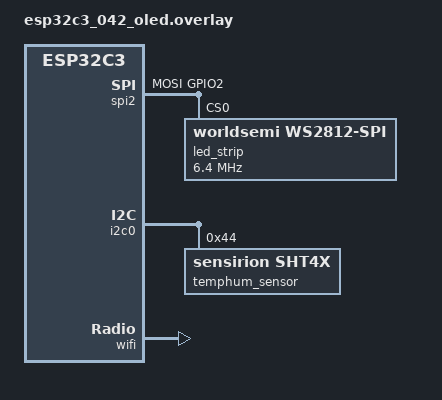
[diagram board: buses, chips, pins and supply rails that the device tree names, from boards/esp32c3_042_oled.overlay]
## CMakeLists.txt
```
cmake_minimum_required(VERSION 3.13.1)
message("WORKSPACE_BASE = $ENV{WORKSPACE_BASE}")
message("ZEPHYR_BASE = $ENV{ZEPHYR_BASE}")
message("ZEPHYR_SDK_INSTALL_DIR = $ENV{ZEPHYR_SDK_INSTALL_DIR}")
message("ZEPHYR_TOOLCHAIN_VARIANT = $ENV{ZEPHYR_TOOLCHAIN_VARIANT}")

set(CONFIG_OUTPUT_DISASSEMBLY y CACHE INTERNAL "")
set(CONFIG_OUTPUT_DISASSEMBLY_WITH_SOURCE y CACHE INTERNAL "")

list(APPEND EXTRA_CONF_FILE
    ${CMAKE_CURRENT_SOURCE_DIR}/conf/kernel.conf
    ${CMAKE_CURRENT_SOURCE_DIR}/conf/net.conf
    ${CMAKE_CURRENT_SOURCE_DIR}/conf/modules.conf
    ${CMAKE_CURRENT_SOURCE_DIR}/conf/rpc.conf
    ${CMAKE_CURRENT_SOURCE_DIR}/conf/nv.conf
    ${CMAKE_CURRENT_SOURCE_DIR}/conf/wifi.conf
)

#cmake_minimum_required(VERSION 3.13.1)
#message("ZEPHYR_BASE = $ENV{ZEPHYR_BASE}")
#find_package(Zephyr REQUIRED HINTS $ENV{ZEPHYR_BASE})

find_package(Zephyr REQUIRED HINTS $ENV{ZEPHYR_BASE})

project(oled_demo)

set(target app)

# Include the cmake script which builds protobuf bindings.
include($ENV{WORKSPACE_BASE}/common/scripts/cmake/build_proto.cmake)

# The following creates the target ${target}_proto.
nanopb_build_sources(${target} $ENV{WORKSPACE_BASE}/proto)

target_sources(
    ${target}
    PRIVATE
    src/main.c
    src/rpc.c
    src/sensor.c
    src/font5x7.c
    src/font8x8.c
    )

target_compile_options(
    ${target}
    PUBLIC
    -fmax-errors=5
    )

target_link_libraries(
    ${target}
    INTERFACE
    ${target}_proto
    )
```

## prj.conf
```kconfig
CONFIG_MAIN_STACK_SIZE=4096
#CONFIG_OUTPUT_DISASSEMBLY=y

#CONFIG_HEAP_MEM_POOL_SIZE=32768

#CONFIG_NET_IPV6=n

#CONFIG_GPIO=y
#CONFIG_LOG=y
#CONFIG_LOG_MODE_IMMEDIATE=y
#CONFIG_PRINTK=y
#CONFIG_EVENTS=y

#CONFIG_REBOOT=y

#CONFIG_JSON_LIBRARY=y
#CONFIG_LWM2M=y
#
#CONFIG_I2C=y
#CONFIG_DISPLAY=y
#CONFIG_CHARACTER_FRAMEBUFFER=y
#CONFIG_CHARACTER_FRAMEBUFFER_USE_DEFAULT_FONTS=y
#
#CONFIG_SHELL=y
#CONFIG_I2C_SHELL=y
#CONFIG_SENSOR=y
#
#CONFIG_SSD1306=y
#CONFIG_SSD1306_DEFAULT_CONTRAST=128

# Standard thread options
#CONFIG_DYNAMIC_THREAD=y
#CONFIG_DYNAMIC_THREAD_ALLOC=y
#CONFIG_THREAD_STACK_INFO=y
#CONFIG_THREAD_NAME=y
#CONFIG_THREAD_MONITOR=y
#CONFIG_THREAD_RUNTIME_STATS=y
#CONFIG_THREAD_RUNTIME_STATS_USE_TIMING_FUNCTIONS=y

#CONFIG_LED_STRIP=y
#CONFIG_MQTT_LIB=y
#
## For RANDOM
#CONFIG_ENTROPY_GENERATOR=y

# Required by NvParms
#CONFIG_FLASH=y
#CONFIG_FLASH_MAP=y
#CONFIG_NVS=y
#CONFIG_SETTINGS=y
#CONFIG_SETTINGS_RUNTIME=y
#CONFIG_SETTINGS_NVS=y

# Required by WifiConnect module
#CONFIG_WIFI=y

# Network
#CONFIG_NETWORKING=y
#CONFIG_NET_L2_WIFI_MGMT=y
#CONFIG_NET_L2_ETHERNET=y
#CONFIG_NET_IPV4=y
#CONFIG_NET_DHCPV4=y
#CONFIG_NET_TCP=y
#CONFIG_NET_SOCKETS=y
#CONFIG_POSIX_API=y

#CONFIG_MQTTCLIENT_SERVER_ADDR="192.168.1.7"
#
#CONFIG_RTOSUTILS=y
#CONFIG_WS2812LED=y
#CONFIG_RANDOM=y
##CONFIG_WIFICONNECT=y
##CONFIG_NVPARMS=y
#CONFIG_MQTTCLIENT=y
#CONFIG_MQTTCLIENT_STACK_SIZE=2048
#CONFIG_MQTTCLIENT_THREAD_PRIO=15
#CONFIG_MQTTCLIENT_LOG_LEVEL_DBG=y
```

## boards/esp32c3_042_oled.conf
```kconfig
CONFIG_I2C_ESP32=y
```

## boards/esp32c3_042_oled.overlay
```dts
#include <zephyr/dt-bindings/led/led.h>

/ {
	aliases {
		led-strip = &led_strip;
		temphum0 = &temphum_sensor;
	};

};

&pinctrl {
	spim2_default: spim2_default {
		group3 {
			pinmux = <SPIM2_MOSI_GPIO2>;
		};
	};
};

&spi2 {
	status = "okay";
	#address-cells = <1>;
	#size-cells = <0>;
	pinctrl-0 = <&spim2_default>;
	pinctrl-names = "default";

	/* Workaround to support WS2812 driver */
	line-idle-low;

	led_strip: ws2812@0 {
		compatible = "worldsemi,ws2812-spi";

		/* SPI */
		reg = <0>; /* ignored, but necessary for SPI bindings */
		spi-max-frequency = <6400000>;

		/* WS2812 */
		chain-length = <1>; /* a single led */
		spi-cpha;
		spi-one-frame = <0xf0>; /* 11110000: 625 ns high and 625 ns low */
		spi-zero-frame = <0xc0>; /* 11000000: 312.5 ns high and 937.5 ns low */
		color-mapping = <LED_COLOR_ID_GREEN
				 LED_COLOR_ID_RED
				 LED_COLOR_ID_BLUE>;
	};
};

&i2c0 {
	temphum_sensor: sht4x@44 {
		status = "okay";
		compatible = "sensirion,sht4x";
		reg = <0x44>;
		repeatability = <2>;
	};
};

&wifi {
	status = "okay";
};
```

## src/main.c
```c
#include <stdio.h>
#include <zephyr/kernel.h>
#include <zephyr/sys/reboot.h>
#include <zephyr/device.h>
#include <zephyr/devicetree.h>
#include <zephyr/logging/log.h>

#include "WS2812Led.h"
#include "RtosUtils.h"
#include "sensor.h"
#include "WifiConnect.h"
#include "NvParms.h"
#include "Publisher.h"
#include "rpc.h"

#include "Sensor.pb.h"

/** @brief Initialize the logging module. */
LOG_MODULE_REGISTER(app, LOG_LEVEL_DBG);

#define STRIP_NODE       DT_ALIAS(led_strip)

static const struct device *const rgbled_dev = DEVICE_DT_GET(STRIP_NODE);

static WS2812Led led;
static MqttClient mqtt;
static Publisher_topic_t hello_topic;
static Publisher_topic_t sensor_topic;

static void
wifi_error(void)
{
    LOG_ERR("Rebooting system.");
    sys_reboot(SYS_REBOOT_COLD);
}

static int
init_wifi(void)
{
    char ssid[32];
    char pass[32];
    int ret, pass_len;

    ret = NvParms_load("ssid", NVPARMS_TYPE_STRING, ssid, sizeof(ssid));
    if (ret <= 0)
    {
        LOG_ERR("Error getting ssid from NV: %d", ret);
        return -1;
    }

    pass_len = NvParms_load("pass", NVPARMS_TYPE_STRING, pass, sizeof(pass));
    if (pass_len <= 0)
    {
        LOG_ERR("Error getting pass from NV: %d", pass_len);
        return -1;
    }

    LOG_DBG("ssid=%s", ssid);
    LOG_DBG("password length=%d", pass_len);

    WifiConnect_connect(ssid, pass, wifi_error);
    return 0;
}


int main(void)
{
    int sensor_ready;
    int ret;
    struct sensor_value temp;
    struct sensor_value hum;
    WS2812Led_Segment *led_seg = &led.seg;
    char *ip, *nm, *gw;

    sensor_ready = init_sensor();
    init_display();

    WS2812LED_INIT_SIMPLE(rgbled_dev, &led, "led", 1);

    /* Start blend around the color wheel. */
    CHSV color1 = WS2812LED_HSV_COLOR(HUE_GREEN, 255, 100);
    CHSV color2 = WS2812LED_HSV_COLOR(color1.h + 255, 255, 100);
    led_seg->show(led_seg);
    led_seg->blend(led_seg, true, &color1, &color2, GRAD_LONGEST, 200, 50);

    ret = NvParms_init();
    if (ret < 0)
    {
        LOG_ERR("NvParms module init error : %d", ret);
        return 0;
    }

    ret = init_wifi();
    if (ret < 0)
    {
        LOG_ERR("Error connecting to network.");
        return 0;
    }
    WifiConnect_getIpInfo(&ip, &nm, &gw);

    rpc_init();
    ret = rpc_start_server();
    if (ret < 0)
    {
        LOG_ERR("Error starting RPC server. %d", ret);
    }

    ret = Publisher_init(ip);
    if (ret < 0)
    {
        while (1) { RTOS_TASK_SLEEP_ms(5000); }
    }

    Publisher_createTopic(&hello_topic, "hello", PUB_TYPE_STRING);
    Publisher_createTopic(&sensor_topic, "sensor", PUB_TYPE_PROTOBUF);

    sensor_TempSensor temp_sensor;
    uint8_t buf[128];
    Publisher_setProtobuf(&sensor_topic, (void *)sensor_TempSensor_fields,
        &temp_sensor, buf, sizeof(buf));

    uint32_t loop = 0;

    while (1)
    {
        char json_buffer[64];
        char str[64];
        uint8_t size;
        int32_t temp_16;
        int32_t hum_4;

        RTOS_TASK_SLEEP_ms(100);

        Publisher_setString(&hello_topic, "Hello from %s %u", ip, loop++);
        Publisher_publish(&hello_topic);

        if (sensor_ready == 0)
        {
            get_temp_hum(&temp, &hum);
            update_display(&temp, &hum);

            sensor_conv_to_fixedpt(&temp, &hum, 16, 4, &temp_16, &hum_4);

            temp_sensor.temp_deg = temp_16;
            temp_sensor.temp_deg_fl = 16;
            temp_sensor.has_humid = true;
            temp_sensor.humid = hum_4;
            temp_sensor.humid_fl = 4;

            Publisher_publish(&sensor_topic);
            Publisher_sendMsg_INFO("temp = %d; hum = %d", temp_16, hum_4);

            //int len = encode_json_result(
            //    &temp, &hum, json_buffer, sizeof(json_buffer));
            //if (len > 0)
            //{
            //    MqttClient_publish(&mqtt, &mqtt_topic, json_buffer, len);
            //}
        }
    }
}
```

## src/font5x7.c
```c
#include <zephyr/display/cfb.h>

#define CFB_FONTS_FIRST_CHAR    32
#define CFB_FONTS_LAST_CHAR     126

#define FONT_WIDTH       5 // for Font 5x7
#define FONT_HEIGHT      8 // actually full 8-bits high

typedef struct {
    unsigned char charbits [5];
} SSD130x_chardef_t;

const static SSD130x_chardef_t cfb_font_5x7 [95] = {
    {{ 0x00, 0x00, 0x00, 0x00, 0x00 }}, // space ' ' 0x20 or 32
    {{ 0x00, 0x00, 0x5F, 0x00, 0x00 }},
    {{ 0x00, 0x07, 0x00, 0x07, 0x00 }},
    {{ 0x14, 0x7F, 0x14, 0x7F, 0x14 }},
    {{ 0x24, 0x2A, 0x7F, 0x2A, 0x12 }},
    {{ 0x23, 0x13, 0x08, 0x64, 0x62 }},
    {{ 0x36, 0x49, 0x56, 0x20, 0x50 }},
    {{ 0x00, 0x08, 0x07, 0x03, 0x00 }},
    {{ 0x00, 0x1C, 0x22, 0x41, 0x00 }},
    {{ 0x00, 0x41, 0x22, 0x1C, 0x00 }},
    {{ 0x2A, 0x1C, 0x7F, 0x1C, 0x2A }},
    {{ 0x08, 0x08, 0x3E, 0x08, 0x08 }},
    {{ 0x00, 0x80, 0x70, 0x30, 0x00 }},
    {{ 0x08, 0x08, 0x08, 0x08, 0x08 }},
    {{ 0x00, 0x00, 0x60, 0x60, 0x00 }},
    {{ 0x20, 0x10, 0x08, 0x04, 0x02 }},
    {{ 0x3E, 0x51, 0x49, 0x45, 0x3E }},
    {{ 0x00, 0x42, 0x7F, 0x40, 0x00 }},
    {{ 0x72, 0x49, 0x49, 0x49, 0x46 }},
    {{ 0x21, 0x41, 0x49, 0x4D, 0x33 }},
    {{ 0x18, 0x14, 0x12, 0x7F, 0x10 }},
    {{ 0x27, 0x45, 0x45, 0x45, 0x39 }},
    {{ 0x3C, 0x4A, 0x49, 0x49, 0x31 }},
    {{ 0x41, 0x21, 0x11, 0x09, 0x07 }},
    {{ 0x36, 0x49, 0x49, 0x49, 0x36 }},
    {{ 0x46, 0x49, 0x49, 0x29, 0x1E }},
    {{ 0x00, 0x00, 0x14, 0x00, 0x00 }},
    {{ 0x00, 0x40, 0x34, 0x00, 0x00 }},
    {{ 0x00, 0x08, 0x14, 0x22, 0x41 }},
    {{ 0x14, 0x14, 0x14, 0x14, 0x14 }},
    {{ 0x00, 0x41, 0x22, 0x14, 0x08 }},
    {{ 0x02, 0x01, 0x59, 0x09, 0x06 }},
    {{ 0x3E, 0x41, 0x5D, 0x59, 0x4E }},
    {{ 0x7C, 0x12, 0x11, 0x12, 0x7C }},
    {{ 0x7F, 0x49, 0x49, 0x49, 0x36 }},
    {{ 0x3E, 0x41, 0x41, 0x41, 0x22 }},
    {{ 0x7F, 0x41, 0x41, 0x41, 0x3E }},
    {{ 0x7F, 0x49, 0x49, 0x49, 0x41 }},
    {{ 0x7F, 0x09, 0x09, 0x09, 0x01 }},
    {{ 0x3E, 0x41, 0x41, 0x51, 0x73 }},
    {{ 0x7F, 0x08, 0x08, 0x08, 0x7F }},
    {{ 0x00, 0x41, 0x7F, 0x41, 0x00 }},
    {{ 0x20, 0x40, 0x41, 0x3F, 0x01 }},
    {{ 0x7F, 0x08, 0x14, 0x22, 0x41 }},
    {{ 0x7F, 0x40, 0x40, 0x40, 0x40 }},
    {{ 0x7F, 0x02, 0x1C, 0x02, 0x7F }},
    {{ 0x7F, 0x04, 0x08, 0x10, 0x7F }},
    {{ 0x3E, 0x41, 0x41, 0x41, 0x3E }},
    {{ 0x7F, 0x09, 0x09, 0x09, 0x06 }},
    {{ 0x3E, 0x41, 0x51, 0x21, 0x5E }},
    {{ 0x7F, 0x09, 0x19, 0x29, 0x46 }},
    {{ 0x26, 0x49, 0x49, 0x49, 0x32 }},
    {{ 0x03, 0x01, 0x7F, 0x01, 0x03 }},
    {{ 0x3F, 0x40, 0x40, 0x40, 0x3F }},
    {{ 0x1F, 0x20, 0x40, 0x20, 0x1F }},
    {{ 0x3F, 0x40, 0x38, 0x40, 0x3F }},
    {{ 0x63, 0x14, 0x08, 0x14, 0x63 }},
    {{ 0x03, 0x04, 0x78, 0x04, 0x03 }},
    {{ 0x61, 0x59, 0x49, 0x4D, 0x43 }},
    {{ 0x00, 0x7F, 0x41, 0x41, 0x41 }},
    {{ 0x02, 0x04, 0x08, 0x10, 0x20 }},
    {{ 0x00, 0x41, 0x41, 0x41, 0x7F }},
    {{ 0x04, 0x02, 0x01, 0x02, 0x04 }},
    {{ 0x40, 0x40, 0x40, 0x40, 0x40 }},
    {{ 0x00, 0x03, 0x07, 0x08, 0x00 }},
    {{ 0x20, 0x54, 0x54, 0x78, 0x40 }},
    {{ 0x7F, 0x28, 0x44, 0x44, 0x38 }},
    {{ 0x38, 0x44, 0x44, 0x44, 0x28 }},
    {{ 0x38, 0x44, 0x44, 0x28, 0x7F }},
    {{ 0x38, 0x54, 0x54, 0x54, 0x18 }},
    {{ 0x00, 0x08, 0x7E, 0x09, 0x02 }},
    {{ 0x18, 0xA4, 0xA4, 0x9C, 0x78 }},
    {{ 0x7F, 0x08, 0x04, 0x04, 0x78 }},
    {{ 0x00, 0x44, 0x7D, 0x40, 0x00 }},
    {{ 0x20, 0x40, 0x40, 0x3D, 0x00 }},
    {{ 0x7F, 0x10, 0x28, 0x44, 0x00 }},
    {{ 0x00, 0x41, 0x7F, 0x40, 0x00 }},
    {{ 0x7C, 0x04, 0x78, 0x04, 0x78 }},
    {{ 0x7C, 0x08, 0x04, 0x04, 0x78 }},
    {{ 0x38, 0x44, 0x44, 0x44, 0x38 }},
    {{ 0xFC, 0x18, 0x24, 0x24, 0x18 }},
    {{ 0x18, 0x24, 0x24, 0x18, 0xFC }},
    {{ 0x7C, 0x08, 0x04, 0x04, 0x08 }},
    {{ 0x48, 0x54, 0x54, 0x54, 0x24 }},
    {{ 0x04, 0x04, 0x3F, 0x44, 0x24 }},
    {{ 0x3C, 0x40, 0x40, 0x20, 0x7C }},
    {{ 0x1C, 0x20, 0x40, 0x20, 0x1C }},
    {{ 0x3C, 0x40, 0x30, 0x40, 0x3C }},
    {{ 0x44, 0x28, 0x10, 0x28, 0x44 }},
    {{ 0x4C, 0x90, 0x90, 0x90, 0x7C }},
    {{ 0x44, 0x64, 0x54, 0x4C, 0x44 }},
    {{ 0x00, 0x08, 0x36, 0x41, 0x00 }}, // '{'
    {{ 0x00, 0x00, 0x77, 0x00, 0x00 }}, // '|'
    {{ 0x00, 0x41, 0x36, 0x08, 0x00 }}, // '}'
};

FONT_ENTRY_DEFINE(
    font5x7,
    5, 8,
    CFB_FONT_MONO_VPACKED,
    cfb_font_5x7,
    CFB_FONTS_FIRST_CHAR,
    CFB_FONTS_LAST_CHAR
);
```

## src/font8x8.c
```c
#include <zephyr/display/cfb.h>

#define CFB_FONTS_FIRST_CHAR    32
#define CFB_FONTS_LAST_CHAR     126

#define FONT_WIDTH       8 // for Font 8x8
#define FONT_HEIGHT      8 // actually full 8-bits high

typedef struct {
    unsigned char charbits [8];
} SSD130x_chardef_t;

const SSD130x_chardef_t cfb_font_8x8 [95] = {
    {{0x00,0x00,0x00,0x00,0x00,0x00,0x00,0x00}}, // 0x20 [space]
    {{0x00,0x00,0x5F,0x00,0x00,0x00,0x00,0x00}}, // 0x21 !  
    {{0x00,0x00,0x07,0x00,0x07,0x00,0x00,0x00}}, // 0x22 " 
    {{0x00,0x14,0x7F,0x14,0x7F,0x14,0x00,0x00}}, // 0x23 #
    {{0x00,0x24,0x2A,0x7F,0x2A,0x12,0x00,0x00}}, // 0x24 $
    {{0x00,0x23,0x13,0x08,0x64,0x62,0x00,0x00}}, // 0x25 %
    {{0x00,0x36,0x49,0x55,0x22,0x50,0x00,0x00}}, // 0x26 &
    {{0x00,0x00,0x05,0x03,0x00,0x00,0x00,0x00}}, // 0x27 '
    {{0x00,0x1C,0x22,0x41,0x00,0x00,0x00,0x00}}, // 0x28 (
    {{0x00,0x41,0x22,0x1C,0x00,0x00,0x00,0x00}}, // 0x29 )
    {{0x00,0x08,0x2A,0x1C,0x2A,0x08,0x00,0x00}}, // 0x2A *
    {{0x00,0x08,0x08,0x3E,0x08,0x08,0x00,0x00}}, // 0x2B +
    {{0x00,0xA0,0x60,0x00,0x00,0x00,0x00,0x00}}, // 0x2C ,
    {{0x00,0x08,0x08,0x08,0x08,0x08,0x00,0x00}}, // 0x2D -
    {{0x00,0x60,0x60,0x00,0x00,0x00,0x00,0x00}}, // 0x2E .
    {{0x00,0x20,0x10,0x08,0x04,0x02,0x00,0x00}}, // 0x2F /
    {{0x00,0x3E,0x51,0x49,0x45,0x3E,0x00,0x00}}, // 0x30 0
    {{0x00,0x00,0x42,0x7F,0x40,0x00,0x00,0x00}}, // 0x31 1
    {{0x00,0x62,0x51,0x49,0x49,0x46,0x00,0x00}}, // 0x32 2
    {{0x00,0x22,0x41,0x49,0x49,0x36,0x00,0x00}}, // 0x33 3
    {{0x00,0x18,0x14,0x12,0x7F,0x10,0x00,0x00}}, // 0x34 4
    {{0x00,0x27,0x45,0x45,0x45,0x39,0x00,0x00}}, // 0x35 5
    {{0x00,0x3C,0x4A,0x49,0x49,0x30,0x00,0x00}}, // 0x36 6
    {{0x00,0x01,0x71,0x09,0x05,0x03,0x00,0x00}}, // 0x37 7
    {{0x00,0x36,0x49,0x49,0x49,0x36,0x00,0x00}}, // 0x38 8
    {{0x00,0x06,0x49,0x49,0x29,0x1E,0x00,0x00}}, // 0x39 9
    {{0x00,0x00,0x36,0x36,0x00,0x00,0x00,0x00}}, // 0x3A :
    {{0x00,0x00,0xAC,0x6C,0x00,0x00,0x00,0x00}}, // 0x3B ;
    {{0x00,0x08,0x14,0x22,0x41,0x00,0x00,0x00}}, // 0x3C <
    {{0x00,0x14,0x14,0x14,0x14,0x14,0x00,0x00}}, // 0x3D =
    {{0x00,0x41,0x22,0x14,0x08,0x00,0x00,0x00}}, // 0x3E >
    {{0x00,0x02,0x01,0x51,0x09,0x06,0x00,0x00}}, // 0x3F ?
    {{0x00,0x32,0x49,0x79,0x41,0x3E,0x00,0x00}},
    {{0x00,0x7E,0x09,0x09,0x09,0x7E,0x00,0x00}},
    {{0x00,0x7F,0x49,0x49,0x49,0x36,0x00,0x00}},
    {{0x00,0x3E,0x41,0x41,0x41,0x22,0x00,0x00}},
    {{0x00,0x7F,0x41,0x41,0x22,0x1C,0x00,0x00}},
    {{0x00,0x7F,0x49,0x49,0x49,0x41,0x00,0x00}},
    {{0x00,0x7F,0x09,0x09,0x09,0x01,0x00,0x00}},
    {{0x00,0x3E,0x41,0x41,0x51,0x72,0x00,0x00}},
    {{0x00,0x7F,0x08,0x08,0x08,0x7F,0x00,0x00}},
    {{0x00,0x41,0x7F,0x41,0x00,0x00,0x00,0x00}},
    {{0x00,0x20,0x40,0x41,0x3F,0x01,0x00,0x00}},
    {{0x00,0x7F,0x08,0x14,0x22,0x41,0x00,0x00}},
    {{0x00,0x7F,0x40,0x40,0x40,0x40,0x00,0x00}},
    {{0x00,0x7F,0x02,0x0C,0x02,0x7F,0x00,0x00}},
    {{0x00,0x7F,0x04,0x08,0x10,0x7F,0x00,0x00}},
    {{0x00,0x3E,0x41,0x41,0x41,0x3E,0x00,0x00}},
    {{0x00,0x7F,0x09,0x09,0x09,0x06,0x00,0x00}},
    {{0x00,0x3E,0x41,0x51,0x21,0x5E,0x00,0x00}},
    {{0x00,0x7F,0x09,0x19,0x29,0x46,0x00,0x00}},
    {{0x00,0x26,0x49,0x49,0x49,0x32,0x00,0x00}},
    {{0x00,0x01,0x01,0x7F,0x01,0x01,0x00,0x00}},
    {{0x00,0x3F,0x40,0x40,0x40,0x3F,0x00,0x00}},
    {{0x00,0x1F,0x20,0x40,0x20,0x1F,0x00,0x00}},
    {{0x00,0x3F,0x40,0x38,0x40,0x3F,0x00,0x00}},
    {{0x00,0x63,0x14,0x08,0x14,0x63,0x00,0x00}},
    {{0x00,0x03,0x04,0x78,0x04,0x03,0x00,0x00}},
    {{0x00,0x61,0x51,0x49,0x45,0x43,0x00,0x00}},
    {{0x00,0x7F,0x41,0x41,0x00,0x00,0x00,0x00}},
    {{0x00,0x02,0x04,0x08,0x10,0x20,0x00,0x00}},
    {{0x00,0x41,0x41,0x7F,0x00,0x00,0x00,0x00}},
    {{0x00,0x04,0x02,0x01,0x02,0x04,0x00,0x00}},
    {{0x00,0x80,0x80,0x80,0x80,0x80,0x00,0x00}},
    {{0x00,0x01,0x02,0x04,0x00,0x00,0x00,0x00}},
    {{0x00,0x20,0x54,0x54,0x54,0x78,0x00,0x00}},
    {{0x00,0x7F,0x48,0x44,0x44,0x38,0x00,0x00}},
    {{0x00,0x38,0x44,0x44,0x28,0x00,0x00,0x00}},
    {{0x00,0x38,0x44,0x44,0x48,0x7F,0x00,0x00}},
    {{0x00,0x38,0x54,0x54,0x54,0x18,0x00,0x00}},
    {{0x00,0x08,0x7E,0x09,0x02,0x00,0x00,0x00}},
    {{0x00,0x18,0xA4,0xA4,0xA4,0x7C,0x00,0x00}},
    {{0x00,0x7F,0x08,0x04,0x04,0x78,0x00,0x00}},
    {{0x00,0x00,0x7D,0x00,0x00,0x00,0x00,0x00}},
    {{0x00,0x80,0x84,0x7D,0x00,0x00,0x00,0x00}},
    {{0x00,0x7F,0x10,0x28,0x44,0x00,0x00,0x00}},
    {{0x00,0x41,0x7F,0x40,0x00,0x00,0x00,0x00}},
    {{0x00,0x7C,0x04,0x18,0x04,0x78,0x00,0x00}},
    {{0x00,0x7C,0x08,0x04,0x7C,0x00,0x00,0x00}},
    {{0x00,0x38,0x44,0x44,0x38,0x00,0x00,0x00}},
    {{0x00,0xFC,0x24,0x24,0x18,0x00,0x00,0x00}},
    {{0x00,0x18,0x24,0x24,0xFC,0x00,0x00,0x00}},
    {{0x00,0x00,0x7C,0x08,0x04,0x00,0x00,0x00}},
    {{0x00,0x48,0x54,0x54,0x24,0x00,0x00,0x00}},
    {{0x00,0x04,0x7F,0x44,0x00,0x00,0x00,0x00}},
    {{0x00,0x3C,0x40,0x40,0x7C,0x00,0x00,0x00}},
    {{0x00,0x1C,0x20,0x40,0x20,0x1C,0x00,0x00}},
    {{0x00,0x3C,0x40,0x30,0x40,0x3C,0x00,0x00}},
    {{0x00,0x44,0x28,0x10,0x28,0x44,0x00,0x00}},
    {{0x00,0x1C,0xA0,0xA0,0x7C,0x00,0x00,0x00}},
    {{0x00,0x44,0x64,0x54,0x4C,0x44,0x00,0x00}},
    {{0x00,0x08,0x36,0x41,0x00,0x00,0x00,0x00}},
    {{0x00,0x00,0x7F,0x00,0x00,0x00,0x00,0x00}},
    {{0x00,0x41,0x36,0x08,0x00,0x00,0x00,0x00}},
    {{0x00,0x02,0x01,0x01,0x02,0x01,0x00,0x00}},
    //{{0x00,0x02,0x05,0x05,0x02,0x00,0x00,0x00}},
};

FONT_ENTRY_DEFINE(
    font8x8,
    8, 8,
    CFB_FONT_MONO_VPACKED,
    cfb_font_8x8,
    CFB_FONTS_FIRST_CHAR,
    CFB_FONTS_LAST_CHAR
);
```

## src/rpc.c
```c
/*******************************************************************************
 *  @file: rpc.c
 *  
 *  @brief: Declarations and init for rpc.
*******************************************************************************/
#include "TcpRpcServer.h"
#include "ProtoRpc.h"

#include <zephyr/logging/log.h>
LOG_MODULE_DECLARE(app, LOG_LEVEL_DBG);

#include "TestRpc.h"
#include "TestRpc.pb.h"
#include "SystemRpc.h"
#include "SystemRpc.pb.h"
#include "RtosUtilsRpc.h"
#include "RtosUtilsRpc.pb.h"

static ProtoRpc_Callset_Entry callsets[] = {
    PROTORPC_ADD_CALLSET(0, SystemRpc_resolver, system_Callset),
    PROTORPC_ADD_CALLSET(1, RtosUtilsRpc_resolver, rtosutils_Callset),
};

static TcpRpcServer tcp_rpc;
static ProtoRpc rpc;

#define RPCSERVER_STACK_SIZE    4*1024
#define RPC_USE_STATIC  0

#if RPC_USE_STATIC == 0
static uint8_t *rpc_call_frame;
static uint8_t *rpc_reply_frame;
static uint8_t *rpc_callset_call_buf;
static uint8_t *rpc_callset_reply_buf;
#else
static uint8_t rpc_call_frame[1008];
static uint8_t rpc_reply_frame[1408];
static uint8_t rpc_callset_call_buf[1000];
static uint8_t rpc_callset_reply_buf[1408];
#endif

/******************************************************************************
    [docimport rpc_start_server]
*//**
    @brief Starts the RPC server thread.
******************************************************************************/
int
rpc_start_server(void)
{
    LOG_INF("Starting tcp rpc server on port %u.", CONFIG_TCPRPCSERVER_PORT);

    /* Start TCP Rcp server. */
    int ret = TcpRpcServer_init(
        &tcp_rpc,
        &rpc,
        CONFIG_TCPRPCSERVER_PORT,
        RPCSERVER_STACK_SIZE,
        10);
    if (ret < 0) LOG_ERR("Error initializing TcpRpcServer.");
    
    return ret;
}

/******************************************************************************
    [docimport rpc_init]
*//**
    @brief Performs rpc initializations.
******************************************************************************/
int
rpc_init(void)
{
    uint32_t k;
    uint32_t max_callset_size = 0;

    for (k = 0; k < PROTORPC_ARRAY_LENGTH(callsets); k++)
    {
        if (callsets[k].size > max_callset_size)
        {
            max_callset_size = callsets[k].size;
        }
    }

    LOG_DBG("Max rpc callset size: %u", max_callset_size);

#if RPC_USE_STATIC == 0
    rpc_call_frame = k_malloc(ProtoRpcHeader_size + max_callset_size);
    if (!rpc_call_frame)
    {
        LOG_ERR("Error allocating memory for rpc_call_frame.");
        return -ENOMEM;
    }

    rpc_reply_frame = k_malloc(ProtoRpcHeader_size + max_callset_size);
    if (!rpc_reply_frame)
    {
        LOG_ERR("Error allocating memory for rpc_reply_frame.");
        return -ENOMEM;
    }

    rpc_callset_call_buf = k_malloc(max_callset_size);
    if (!rpc_callset_call_buf)
    {
        LOG_ERR("Error allocating memory for rpc_callset_call_buf.");
        return -ENOMEM;
    }

    rpc_callset_reply_buf = k_malloc(max_callset_size);
    if (!rpc_callset_reply_buf)
    {
        LOG_ERR("Error allocating memory for rpc_callset_reply_buf.");
        return -ENOMEM;
    }
#endif

    /** @brief Init the rpc object. */
    rpc.call_frame             = rpc_call_frame;
    rpc.reply_frame            = rpc_reply_frame;
    rpc.callsets               = callsets;
    rpc.callset_call_buf       = rpc_callset_call_buf;
    rpc.callset_call_buf_size  = sizeof(rpc_callset_call_buf);
    rpc.callset_reply_buf      = rpc_callset_reply_buf;
    rpc.callset_reply_buf_size = sizeof(rpc_callset_reply_buf);
    rpc.num_callsets           = PROTORPC_ARRAY_LENGTH(callsets);

    return 0;
}
```

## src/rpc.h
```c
/*******************************************************************************
 *  @file: rpc.h
 *   
 *  @brief: Header for rpc application-level initializations.
*******************************************************************************/
#ifndef APP_RPC_H
#define APP_RPC_H

/******************************************************************************
    [docexport rpc_start_server]
*//**
    @brief Starts the RPC server thread.
******************************************************************************/
int
rpc_start_server(void);

/******************************************************************************
    [docexport rpc_init]
*//**
    @brief Performs rpc initializations.
******************************************************************************/
int
rpc_init(void);
#endif
```

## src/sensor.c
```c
/*******************************************************************************
 *  @file: sensor.c
 *  
 *  @brief: Code for reading sensor data
*******************************************************************************/
#include <zephyr/data/json.h>
#include "sensor.h"

#include <zephyr/logging/log.h>
LOG_MODULE_DECLARE(app, LOG_LEVEL_INF);

#define DISPLAY_DRIVER   DT_CHOSEN(zephyr_display)
#define TEMP_HUM_SENSOR  DT_ALIAS(temphum0)

static const struct device *const display_dev = DEVICE_DT_GET(DISPLAY_DRIVER);
static const struct device *const temp_hum_dev = DEVICE_DT_GET(TEMP_HUM_SENSOR);

static struct dparams {
    uint16_t rows;
    uint16_t cols;
    uint16_t x_res;
    uint16_t y_res;
    uint8_t ppt;
    uint8_t font_width;
    uint8_t font_height;
} dparams;

#define FONT_INDEX  4

struct sensor_result {
    struct json_obj_token temp;
    struct json_obj_token hum;
};

static const struct json_obj_descr json_result[] = {
    JSON_OBJ_DESCR_PRIM(struct sensor_result, temp, JSON_TOK_FLOAT),
    JSON_OBJ_DESCR_PRIM(struct sensor_result, hum, JSON_TOK_FLOAT),
};

/* Fixed-precision float formatter. Avoids pulling in CONFIG_LWM2M just for
 * lwm2m_ftoa()'s float-to-string conversion. */
static int
float_to_string(double *value, char *out, uint32_t outlen, uint8_t num_precision)
{
    int64_t scale = 1;
    int len;

    for (uint8_t i = 0; i < num_precision; i++)
    {
        scale *= 10;
    }

    double scaled = *value * (double)scale;
    int64_t rounded = (int64_t)(scaled + (scaled >= 0 ? 0.5 : -0.5));
    int64_t int_part = rounded / scale;
    int64_t frac_part = rounded % scale;

    if (frac_part < 0)
    {
        frac_part = -frac_part;
    }

    /* Sign is lost from int_part when the magnitude is < 1 (e.g. -0.5). */
    if (int_part == 0 && rounded < 0)
    {
        len = snprintf(out, outlen, "-%lld.%0*lld",
            (long long)int_part, num_precision, (long long)frac_part);
    }
    else
    {
        len = snprintf(out, outlen, "%lld.%0*lld",
            (long long)int_part, num_precision, (long long)frac_part);
    }

    if (len < 0 || (uint32_t)len >= outlen)
    {
        LOG_ERR("Failed to encode float value");
        return -EINVAL;
    }

    return len;
}

int
init_sensor(void)
{
    if (!device_is_ready(temp_hum_dev))
    {
        LOG_ERR("Temp sensor is not ready.");
        return -1;
    }
    return 0;
}

void
get_temp_hum(struct sensor_value *temp, struct sensor_value *hum)
{
    if (sensor_sample_fetch(temp_hum_dev))
    {
        LOG_ERR("Failed to fetch sensor data.");
        return;
    }

    sensor_channel_get(temp_hum_dev, SENSOR_CHAN_AMBIENT_TEMP, temp);
    sensor_channel_get(temp_hum_dev, SENSOR_CHAN_HUMIDITY, hum);
}

void
update_display(const struct sensor_value *temp, const struct sensor_value *hum)
{
    double deg_c = temp->val1 + (double)(temp->val2)*0.000001;
    double deg_f = deg_c*9/5 + 32.;
    char str[12];

    LOG_DBG("Temperature: %d %d", temp->val1, temp->val2);
    LOG_DBG("Humidity   : %d %d", hum->val1, hum->val2);

    snprintf(str, sizeof(str), "Tmp: %d", (unsigned int)(deg_f + 0.5));
    cfb_print(display_dev, str, 0, 0);
    snprintf(str, sizeof(str), "Hum: %u", hum->val1);
    cfb_print(display_dev, str, 0, 8);
    cfb_framebuffer_finalize(display_dev);
}

void
sensor_conv_to_fixedpt(
    const struct sensor_value *temp,
    const struct sensor_value *hum,
    uint8_t temp_fl,
    uint8_t hum_fl,
    int32_t *deg_f,
    int32_t *hum_pct)
{
    double deg_c = temp->val1 + (double)(temp->val2)*0.000001;
    double _deg_f = deg_c*9/5 + 32.;
    double _hum_pct = hum->val1 + (double)(hum->val2)*0.000001;

    *deg_f = (int32_t)(_deg_f * (double)(int32_t)(0x1 << temp_fl));
    *hum_pct = (int32_t)(_hum_pct * (double)(int32_t)(0x1 << hum_fl)); 
}

int
encode_json_result(
    const struct sensor_value *temp,
    const struct sensor_value *hum,
    char *buffer,
    uint32_t max_size)
{
    int ret;
    double deg_c = temp->val1 + (double)(temp->val2)*0.000001;
    double deg_f = deg_c*9/5 + 32.;
    double hum_pct = hum->val1 + (double)(hum->val2)*0.000001;
    char temp_fl[24];
    char hum_fl[24];
    int fllen;

    struct sensor_result rs;

    fllen = float_to_string(&deg_f, temp_fl, sizeof(temp_fl), 2);
    if (fllen < 0)
    {
        return -1;
    }
    rs.temp.start = temp_fl;
    rs.temp.length = fllen;

    fllen = float_to_string(&hum_pct, hum_fl, sizeof(hum_fl), 2);
    if (fllen < 0)
    {
        return -1;
    }
    rs.hum.start = hum_fl;
    rs.hum.length = fllen;

    int len = json_calc_encoded_len(
        json_result, ARRAY_SIZE(json_result), &rs);

    if (len < 0)
    {
        LOG_ERR("Error json_calc_encoded_len: %d", len);
        return (int)len;
    }

    if (len > max_size)
    {
        LOG_ERR("Buffer not large enough to encode json (%u > %u).",
            len, max_size);
        return -EINVAL;
    }

    ret = json_obj_encode_buf(json_result, ARRAY_SIZE(json_result),
        &rs, buffer, max_size);
    if (ret < 0)
    {
        LOG_ERR("Json encode error: %d", ret);
        return ret;
    }

    return len;
}

int
init_display(void)
{
    if (!device_is_ready(display_dev))
    {
        return -ENODEV;
    }

    if (display_set_pixel_format(display_dev, PIXEL_FORMAT_MONO10) != 0)
    {
        LOG_ERR("Failed to set required pixel format");
        return -1;
    }

    if (cfb_framebuffer_init(display_dev))
    {
        LOG_ERR("Framebuffer initialization failed!");
        return -1;
    }

    cfb_framebuffer_clear(display_dev, true);

    display_blanking_off(display_dev);

    dparams.rows  = cfb_get_display_parameter(display_dev, CFB_DISPLAY_ROWS);
    dparams.cols  = cfb_get_display_parameter(display_dev, CFB_DISPLAY_COLS);
    dparams.x_res = cfb_get_display_parameter(display_dev, CFB_DISPLAY_WIDTH);
    dparams.y_res = cfb_get_display_parameter(display_dev, CFB_DISPLAY_HEIGH);
    dparams.ppt   = cfb_get_display_parameter(display_dev, CFB_DISPLAY_PPT);

    int num_fonts = cfb_get_numof_fonts(display_dev);

    for (int idx = 0; idx < num_fonts; idx++)
    {
        uint8_t h, w;
        cfb_get_font_size(display_dev, idx, &w, &h);
        LOG_INF("Index[%d] font dimensions %2dx%d", idx, w, h);
    }

    cfb_framebuffer_set_font(display_dev, FONT_INDEX);
    cfb_get_font_size(
        display_dev,
        FONT_INDEX,
        &dparams.font_width,
        &dparams.font_height);

    LOG_INF("Selected font: index[%d]", FONT_INDEX);

    LOG_INF("x_res %d, y_res %d, ppt %d, rows %d, cols %d",
        dparams.x_res,
        dparams.y_res,
        dparams.ppt,
        dparams.rows,
        dparams.cols);

    return 0;
}
```

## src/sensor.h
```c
/*******************************************************************************
 *  @file: sensor.h
 *   
 *  @brief: Header for sensor functions
*******************************************************************************/
#ifndef SENSOR_H
#define SENSOR_H

#include <zephyr/device.h>
#include <zephyr/display/cfb.h>
#include <zephyr/drivers/sensor.h>

int init_sensor(void);
void get_temp_hum(struct sensor_value *temp, struct sensor_value *hum);
int init_display(void);
void update_display(const struct sensor_value *temp, const struct sensor_value *hum);

int
encode_json_result(
    const struct sensor_value *temp,
    const struct sensor_value *hum,
    char *buffer,
    uint32_t max_size);

void sensor_conv_to_fixedpt(
    const struct sensor_value *temp,
    const struct sensor_value *hum,
    uint8_t temp_fl,
    uint8_t hum_fl,
    int32_t *deg_f,
    int32_t *hum_pct);
#endif
```
